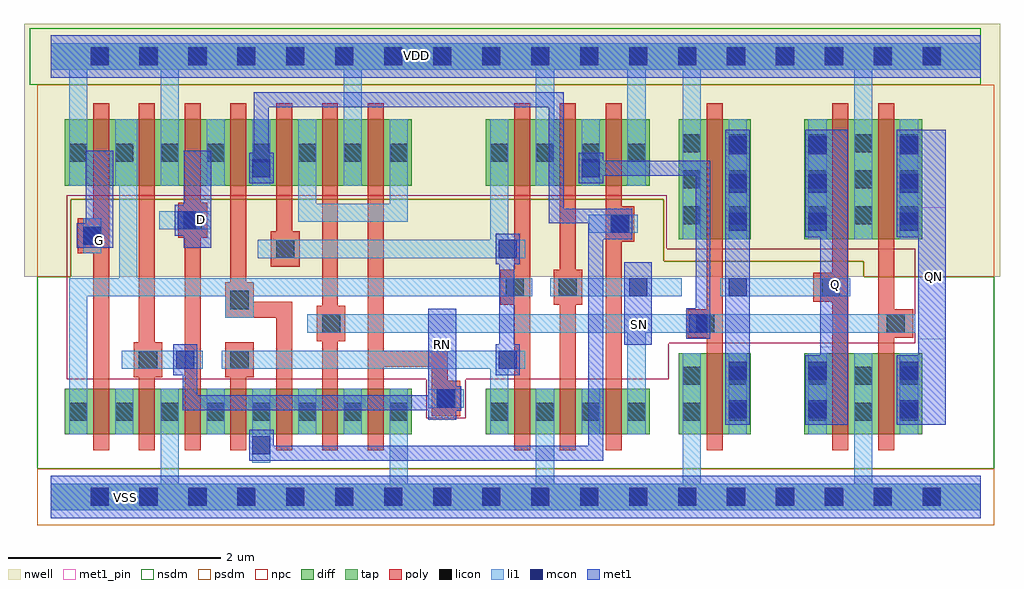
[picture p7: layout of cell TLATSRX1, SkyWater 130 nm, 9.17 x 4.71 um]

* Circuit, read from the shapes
.subckt TLATSRX1 D G Q QN RN SN VDD VSS
XM1 n1 G n2 VSS sky130_fd_pr__nfet_01v8 w=0.425 l=0.15
XM2 VSS RN n1 VSS sky130_fd_pr__nfet_01v8 w=0.425 l=0.15
XM3 n3 D VSS VSS sky130_fd_pr__nfet_01v8 w=0.425 l=0.15
XM4 n4 n5 n3 VSS sky130_fd_pr__nfet_01v8 w=0.425 l=0.15
XM5 n6 n2 n4 VSS sky130_fd_pr__nfet_01v8 w=0.425 l=0.15
XM6 n7 n8 n6 VSS sky130_fd_pr__nfet_01v8 w=0.425 l=0.15
XM7 VSS RN n7 VSS sky130_fd_pr__nfet_01v8 w=0.425 l=0.15
XM8 VSS n2 n5 VSS sky130_fd_pr__nfet_01v8 w=0.425 l=0.15
XM9 n9 SN VSS VSS sky130_fd_pr__nfet_01v8 w=0.425 l=0.15
XM10 n8 n4 n9 VSS sky130_fd_pr__nfet_01v8 w=0.425 l=0.15
XM11 n10 n8 VSS VSS sky130_fd_pr__nfet_01v8 w=0.76 l=0.15
XM12 VSS n10 Q VSS sky130_fd_pr__nfet_01v8 w=0.76 l=0.15
XM13 QN n8 VSS VSS sky130_fd_pr__nfet_01v8 w=0.76 l=0.15
XM14 n2 G VDD VDD sky130_fd_pr__pfet_01v8 w=0.625 l=0.15
XM15 VDD RN n2 VDD sky130_fd_pr__pfet_01v8 w=0.625 l=0.15
XM16 n11 D VDD VDD sky130_fd_pr__pfet_01v8 w=0.625 l=0.15
XM17 n4 n2 n11 VDD sky130_fd_pr__pfet_01v8 w=0.625 l=0.15
XM18 n12 n5 n4 VDD sky130_fd_pr__pfet_01v8 w=0.625 l=0.15
XM19 VDD n8 n12 VDD sky130_fd_pr__pfet_01v8 w=0.625 l=0.15
XM20 n12 RN VDD VDD sky130_fd_pr__pfet_01v8 w=0.625 l=0.15
XM21 VDD n2 n5 VDD sky130_fd_pr__pfet_01v8 w=0.625 l=0.15
XM22 n8 SN VDD VDD sky130_fd_pr__pfet_01v8 w=0.625 l=0.15
XM23 VDD n4 n8 VDD sky130_fd_pr__pfet_01v8 w=0.625 l=0.15
XM24 n10 n8 VDD VDD sky130_fd_pr__pfet_01v8 w=1.13 l=0.15
XM25 VDD n10 Q VDD sky130_fd_pr__pfet_01v8 w=1.13 l=0.15
XM26 QN n8 VDD VDD sky130_fd_pr__pfet_01v8 w=1.13 l=0.15
.ends

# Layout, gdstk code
from math import pi, radians
import gdstk
lib = gdstk.Library(unit=1e-6, precision=1e-09)
def R(c, l, rs):  # rectangles x0, y0, x1, y1
    for r in rs: c.add(gdstk.rectangle(r[:2], r[2:], *l))
def A(c, l, x, y, w, h, nx, ny, dx, dy):  # array of equal rectangles
    R(c, l, [(x+i*dx, y+j*dy, x+i*dx+w, y+j*dy+h) for i in range(nx) for j in range(ny)])
def P(c, l, *ps):  # polygons
    for p in ps: c.add(gdstk.Polygon(p, *l))
nwell = (64, 20)
diff = (65, 20)
tap = (65, 44)
poly = (66, 20)
licon = (66, 44)
li1 = (67, 20)
mcon = (67, 44)
met1_pin = (68, 16)
met1 = (68, 20)
nsdm = (93, 44)
psdm = (94, 20)
npc = (95, 20)

pyl1con_c_cdns_758728262 = lib.new_cell('PYL1CON_C_CDNS_758728262102')
R(pyl1con_c_cdns_758728262, poly, [(-0.135,-0.165,0.135,0.165)])
R(pyl1con_c_cdns_758728262, licon, [(-0.085,-0.085,0.085,0.085)])
R(pyl1con_c_cdns_758728262, npc, [(-0.185,-0.185,0.185,0.185)])

l1m1_c_cdns_758728262101 = lib.new_cell('L1M1_C_CDNS_758728262101')
R(l1m1_c_cdns_758728262101, li1, [(-0.085,-0.165,0.085,0.165)])
R(l1m1_c_cdns_758728262101, mcon, [(-0.085,-0.085,0.085,0.085)])
R(l1m1_c_cdns_758728262101, met1, [(-0.115,-0.145,0.115,0.145)])

l1m1_c_cdns_758728262100 = lib.new_cell('L1M1_C_CDNS_758728262100')
R(l1m1_c_cdns_758728262100, li1, [(-0.165,-0.085,0.165,0.085)])
R(l1m1_c_cdns_758728262100, mcon, [(-0.085,-0.085,0.085,0.085)])
R(l1m1_c_cdns_758728262100, met1, [(-0.115,-0.145,0.115,0.145)])

c_l1m1_c_cdns_758728262101 = lib.new_cell('L1M1_C_CDNS_7587282621012')
R(c_l1m1_c_cdns_758728262101, li1, [(-0.085,-0.525,0.085,0.525)])
A(c_l1m1_c_cdns_758728262101, mcon, -0.085, -0.445, 0.17, 0.17, 1, 3, 0, 0.36)
R(c_l1m1_c_cdns_758728262101, met1, [(-0.115,-0.505,0.115,0.505)])

l1m1_c_cdns_758728262104 = lib.new_cell('L1M1_C_CDNS_758728262104')
R(l1m1_c_cdns_758728262104, li1, [(-0.085,-0.345,0.085,0.345)])
R(l1m1_c_cdns_758728262104, mcon, [(-0.085,-0.265,0.085,-0.095), (-0.085,0.095,0.085,0.265)])
R(l1m1_c_cdns_758728262104, met1, [(-0.115,-0.325,0.115,0.325)])

tlatsrx1 = lib.new_cell('TLATSRX1')
R(tlatsrx1, nwell, [(-0.25,2.07,8.92,4.445)])
R(tlatsrx1, diff, [(0.135,0.59,3.395,1.015), (4.09,0.59,5.63,1.015), (5.9,0.59,6.58,1.35), (7.08,0.59,8.19,1.35), (5.9,2.42,6.58,3.55), (7.08,2.42,8.19,3.55), (0.135,2.925,3.395,3.55), (4.09,2.925,5.63,3.55)])
A(tlatsrx1, poly, 0.4, 0.44, 0.15, 3.26, 3, 1, 0.43, 0)
A(tlatsrx1, poly, 4.355, 0.44, 0.15, 3.26, 3, 1, 0.43, 0)
R(tlatsrx1, poly, [(1.69,0.44,1.84,1.165), (2.55,0.44,2.7,3.7), (6.165,0.44,6.315,3.7), (7.345,0.44,7.495,3.7), (7.775,0.44,7.925,3.7), (2.12,2.465,2.27,3.7)])
P(tlatsrx1, poly, [(2.27,1.835),(1.84,1.835),(1.84,3.7),(1.69,3.7),(1.69,1.685),(2.12,1.685),(2.12,0.44),(2.27,0.44)],
  [(3.73,1.375),(3.13,1.375),(3.13,3.7),(2.98,3.7),(2.98,0.44),(3.13,0.44),(3.13,1.225),(3.58,1.225),(3.58,0.84),(3.73,0.84)])
A(tlatsrx1, licon, 0.375, -0.085, 0.17, 0.17, 18, 2, 0.46, 4.14)
A(tlatsrx1, licon, 0.175, 0.715, 0.17, 0.17, 8, 2, 0.43, 2.435)
A(tlatsrx1, licon, 4.13, 0.715, 0.17, 0.17, 4, 2, 0.43, 2.435)
A(tlatsrx1, licon, 7.12, 0.715, 0.17, 0.17, 3, 2, 0.43, 0.34)
A(tlatsrx1, licon, 5.94, 2.56, 0.17, 0.17, 1, 3, 0, 0.34)
A(tlatsrx1, licon, 6.37, 2.56, 0.17, 0.17, 1, 3, 0, 0.34)
A(tlatsrx1, licon, 7.12, 2.56, 0.17, 0.17, 3, 3, 0.43, 0.34)
R(tlatsrx1, licon, [(5.94,0.715,6.11,0.885), (6.37,0.715,6.54,0.885), (5.94,1.055,6.11,1.225), (6.37,1.055,6.54,1.225)])
A(tlatsrx1, li1, 1.465, 0.59, 0.17, 0.425, 4, 1, 0.43, 0)
R(tlatsrx1, li1, [(0.605,0.59,0.775,1.015), (4.99,0.59,5.16,1.015), (6.37,0.59,6.54,1.35), (7.12,0.59,7.29,1.35), (7.98,0.59,8.15,1.35), (6.37,2.42,6.54,3.55), (7.12,2.42,7.29,3.55), (7.98,2.42,8.15,3.55), (1.465,2.925,1.635,3.55), (1.895,2.925,2.065,3.55), (4.99,2.925,5.16,3.55)])
P(tlatsrx1, li1, [(3.355,3.55),(3.185,3.55),(3.185,2.755),(2.495,2.755),(2.495,3.55),(2.325,3.55),(2.325,2.585),(3.355,2.585)],
  [(4.3,3.55),(4.13,3.55),(4.13,2.415),(1.945,2.415),(1.945,2.245),(4.24,2.245),(4.24,2.32),(4.3,2.32)],
  [(4.3,1.375),(1.61,1.375),(1.61,1.205),(4.13,1.205),(4.13,0.59),(4.3,0.59)],
  [(8.74,4.265),(0,4.265),(0,4.015),(0.175,4.015),(0.175,2.925),(0.345,2.925),(0.345,4.015),(1.035,4.015),(1.035,2.925),(1.205,2.925),(1.205,4.015),(2.755,4.015),(2.755,2.925),(2.925,2.925),(2.925,4.015),(4.56,4.015),(4.56,2.925),(4.73,2.925),(4.73,4.015),(5.42,4.015),(5.42,2.925),(5.59,2.925),(5.59,4.015),(5.94,4.015),(5.94,2.42),(6.11,2.42),(6.11,4.015),(7.55,4.015),(7.55,2.42),(7.72,2.42),(7.72,4.015),(8.74,4.015)],
  [(4.525,2.055),(0.815,2.055),(0.815,3.55),(0.605,3.55),(0.605,2.925),(0.645,2.925),(0.645,2.055),(0.175,2.055),(0.175,0.59),(0.345,0.59),(0.345,1.885),(1.64,1.885),(1.64,1.685),(1.91,1.685),(1.91,1.885),(4.525,1.885)],
  [(8.125,1.715),(2.41,1.715),(2.41,1.545),(5.42,1.545),(5.42,0.59),(5.59,0.59),(5.59,1.545),(8.125,1.545)],
  [(8.74,0.125),(7.72,0.125),(7.72,1.35),(7.55,1.35),(7.55,0.125),(6.11,0.125),(6.11,1.35),(5.94,1.35),(5.94,0.125),(4.73,0.125),(4.73,1.015),(4.56,1.015),(4.56,0.125),(3.355,0.125),(3.355,1.015),(3.185,1.015),(3.185,0.125),(1.205,0.125),(1.205,1.015),(1.035,1.015),(1.035,0.125),(0,0.125),(0,-0.125),(8.74,-0.125)])
A(tlatsrx1, mcon, 0.375, -0.085, 0.17, 0.17, 18, 2, 0.46, 4.14)
R(tlatsrx1, met1_pin, [(3.55,0.83,3.81,1.77), (7.23,1.405,7.49,2.645), (5.39,1.43,5.65,2.205), (8.15,1.48,8.41,2.72), (0.33,2.34,0.59,3.255), (1.25,2.34,1.51,3.255)])
R(tlatsrx1, met1, [(7.23,0.68,7.49,3.45), (8.15,0.68,8.41,3.45), (5.39,1.43,5.65,2.205), (0.33,2.34,0.59,3.255), (1.25,2.34,1.51,3.255)])
P(tlatsrx1, met1, [(3.81,1.77),(3.55,1.77),(3.55,0.955),(1.38,0.955),(1.38,1.36),(1.24,1.36),(1.24,0.815),(3.55,0.815),(3.55,0.725),(3.81,0.725)],
  [(5.235,2.71),(4.82,2.71),(4.82,3.8),(1.91,3.8),(1.91,2.97),(2.05,2.97),(2.05,3.66),(4.68,3.66),(4.68,2.57),(5.05,2.57),(5.05,0.48),(1.91,0.48),(1.91,0.34),(5.19,0.34),(5.19,2.42),(5.235,2.42)])
R(tlatsrx1, nsdm, [(-0.195,3.875,8.74,4.405)])
P(tlatsrx1, nsdm, [(8.865,2.07),(7.64,2.07),(7.64,2.215),(5.76,2.215),(5.76,2.795),(0.19,2.795),(0.19,2.07),(-0.125,2.07),(-0.125,0.265),(8.865,0.265)])
R(tlatsrx1, psdm, [(-0.125,-0.265,8.865,0.265)])
P(tlatsrx1, psdm, [(8.865,3.875),(-0.125,3.875),(-0.125,2.07),(0.19,2.07),(0.19,2.795),(5.76,2.795),(5.76,2.215),(7.64,2.215),(7.64,2.07),(8.865,2.07)])
P(tlatsrx1, npc, [(8.125,2.33),(5.79,2.33),(5.79,2.835),(0.15,2.835),(0.15,1.105),(5.81,1.105),(5.81,1.445),(8.125,1.445)])
tlatsrx1.add(gdstk.FlexPath([(1.02,2.6),(1.51,2.6)], 0.17, ends="flush", simple_path=True, layer=67, datatype=20))  # li1
tlatsrx1.add(gdstk.FlexPath([(0.67,1.29),(1.31,1.29)], 0.17, ends="flush", simple_path=True, layer=67, datatype=20))  # li1
tlatsrx1.add(gdstk.FlexPath([(6.465,1.97),(7.515,1.97)], 0.17, ends="flush", simple_path=True, layer=67, datatype=20))  # li1
tlatsrx1.add(gdstk.FlexPath([(5.055,2.565),(5.22,2.565)], 0.17, ends="flush", simple_path=True, layer=67, datatype=20))  # li1
tlatsrx1.add(gdstk.FlexPath([(4.695,1.97),(5.93,1.97)], 0.17, ends="flush", simple_path=True, layer=67, datatype=20))  # li1
tlatsrx1.add(gdstk.FlexPath([(0,4.14),(8.74,4.14)], 0.25, ends="flush", simple_path=True, layer=65, datatype=44))  # tap
tlatsrx1.add(gdstk.FlexPath([(0,0),(8.74,0)], 0.25, ends="flush", simple_path=True, layer=65, datatype=44))  # tap
tlatsrx1.add(gdstk.FlexPath([(4.285,2.475),(4.285,1.225)], 0.14, ends="flush", simple_path=True, layer=68, datatype=20))  # met1
tlatsrx1.add(gdstk.FlexPath([(0,4.14),(8.74,4.14)], 0.4, ends="flush", simple_path=True, layer=68, datatype=20))  # met1
tlatsrx1.add(gdstk.FlexPath([(6.015,1.705),(6.13,1.705),(6.13,3.09),(5.075,3.09),(5.075,3.165)], 0.14, ends="flush", simple_path=True, layer=68, datatype=20))  # met1
tlatsrx1.add(gdstk.FlexPath([(6.455,0.68),(6.455,3.45)], 0.23, ends="flush", simple_path=True, layer=68, datatype=20))  # met1
tlatsrx1.add(gdstk.FlexPath([(0,0),(8.74,0)], 0.4, ends="flush", simple_path=True, layer=68, datatype=20))  # met1
tlatsrx1.add(gdstk.FlexPath([(0,4.14),(8.74,4.14)], 0.4, ends="flush", simple_path=True, layer=68, datatype=16))  # met1_pin
tlatsrx1.add(gdstk.FlexPath([(0,0),(8.74,0)], 0.4, ends="flush", simple_path=True, layer=68, datatype=16))  # met1_pin
tlatsrx1.add(gdstk.Reference(pyl1con_c_cdns_758728262, (6.15,1.63), rotation=pi/2, x_reflection=True))
tlatsrx1.add(gdstk.Reference(pyl1con_c_cdns_758728262, (3.715,0.925), rotation=pi))
tlatsrx1.add(gdstk.Reference(pyl1con_c_cdns_758728262, (4.36,1.97), rotation=pi, x_reflection=True))
tlatsrx1.add(gdstk.Reference(pyl1con_c_cdns_758728262, (1.775,1.85), x_reflection=True))
tlatsrx1.add(gdstk.Reference(pyl1con_c_cdns_758728262, (1.775,1.29), x_reflection=True))
tlatsrx1.add(gdstk.Reference(pyl1con_c_cdns_758728262, (7.94,1.63), rotation=pi/2, x_reflection=True))
tlatsrx1.add(gdstk.Reference(pyl1con_c_cdns_758728262, (7.33,1.97), rotation=pi/2, x_reflection=True))
tlatsrx1.add(gdstk.Reference(pyl1con_c_cdns_758728262, (2.205,2.33), rotation=pi))
tlatsrx1.add(gdstk.Reference(pyl1con_c_cdns_758728262, (4.86,1.97), rotation=pi, x_reflection=True))
tlatsrx1.add(gdstk.Reference(pyl1con_c_cdns_758728262, (1.335,2.6), x_reflection=True))
tlatsrx1.add(gdstk.Reference(pyl1con_c_cdns_758728262, (0.915,1.29), rotation=pi))
tlatsrx1.add(gdstk.Reference(pyl1con_c_cdns_758728262, (5.35,2.565), x_reflection=True))
tlatsrx1.add(gdstk.Reference(pyl1con_c_cdns_758728262, (2.635,1.63), rotation=pi))
tlatsrx1.add(gdstk.Reference(pyl1con_c_cdns_758728262, (0.39,2.455), x_reflection=True))
tlatsrx1.add(gdstk.Reference(l1m1_c_cdns_758728262101, (1.98,3.09), rotation=pi, x_reflection=True))
tlatsrx1.add(gdstk.Reference(l1m1_c_cdns_758728262101, (1.98,0.485), rotation=pi, x_reflection=True))
tlatsrx1.add(gdstk.Reference(l1m1_c_cdns_758728262101, (5.075,3.09), rotation=pi, x_reflection=True))
tlatsrx1.add(gdstk.Reference(l1m1_c_cdns_758728262101, (3.715,0.925), rotation=3*pi/2))
tlatsrx1.add(gdstk.Reference(l1m1_c_cdns_758728262100, (4.295,2.33), rotation=pi, x_reflection=True))
tlatsrx1.add(gdstk.Reference(l1m1_c_cdns_758728262100, (6.085,1.63)))
tlatsrx1.add(gdstk.Reference(l1m1_c_cdns_758728262100, (1.28,2.6), x_reflection=True))
tlatsrx1.add(gdstk.Reference(l1m1_c_cdns_758728262100, (4.295,1.29), rotation=pi, x_reflection=True))
tlatsrx1.add(gdstk.Reference(l1m1_c_cdns_758728262100, (5.52,1.97), x_reflection=True))
tlatsrx1.add(gdstk.Reference(l1m1_c_cdns_758728262100, (1.265,1.29), x_reflection=True))
tlatsrx1.add(gdstk.Reference(l1m1_c_cdns_758728262100, (5.35,2.565)))
tlatsrx1.add(gdstk.Reference(l1m1_c_cdns_758728262100, (6.455,1.97), x_reflection=True))
tlatsrx1.add(gdstk.Reference(l1m1_c_cdns_758728262100, (0.39,2.455), rotation=3*pi/2, x_reflection=True))
tlatsrx1.add(gdstk.Reference(c_l1m1_c_cdns_758728262101, (7.205,2.945)))
tlatsrx1.add(gdstk.Reference(c_l1m1_c_cdns_758728262101, (8.065,2.945)))
tlatsrx1.add(gdstk.Reference(c_l1m1_c_cdns_758728262101, (6.455,2.945)))
tlatsrx1.add(gdstk.Reference(l1m1_c_cdns_758728262104, (7.205,1.005)))
tlatsrx1.add(gdstk.Reference(l1m1_c_cdns_758728262104, (8.065,1.005)))
tlatsrx1.add(gdstk.Reference(l1m1_c_cdns_758728262104, (6.455,1.005)))
tlatsrx1.add(gdstk.Label('VSS', (0.7,-0.005), layer=68, texttype=5))
tlatsrx1.add(gdstk.Label('RN', (3.68,1.435), layer=68, texttype=5))
tlatsrx1.add(gdstk.Label('Q', (7.372,1.999), layer=68, texttype=5))
tlatsrx1.add(gdstk.Label('QN', (8.292,2.074), layer=68, texttype=5))
tlatsrx1.add(gdstk.Label('G', (0.462,2.414), layer=68, texttype=5))
tlatsrx1.add(gdstk.Label('D', (1.415,2.61), layer=68, texttype=5))
tlatsrx1.add(gdstk.Label('VDD', (3.44,4.15), layer=68, texttype=5))
tlatsrx1.add(gdstk.Label('SN', (5.537,1.624), layer=68, texttype=5))

lib.write_gds('TLATSRX1.gds')
